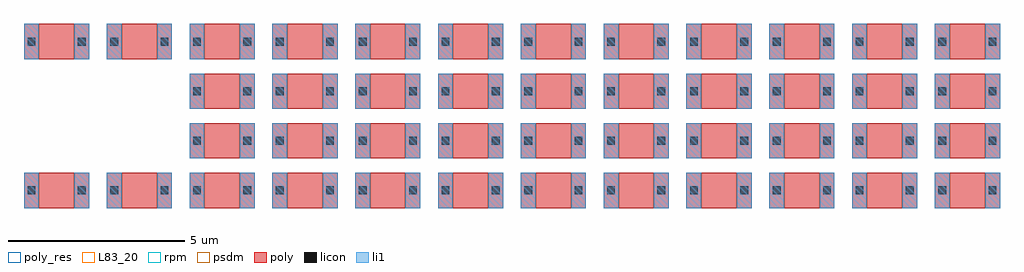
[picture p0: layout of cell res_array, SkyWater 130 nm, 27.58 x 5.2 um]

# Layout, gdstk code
import gdstk
lib = gdstk.Library(unit=1e-6, precision=1e-09)
def R(c, l, rs):  # rectangles x0, y0, x1, y1
    for r in rs: c.add(gdstk.rectangle(r[:2], r[2:], *l))
def A(c, l, x, y, w, h, nx, ny, dx, dy):  # array of equal rectangles
    R(c, l, [(x+i*dx, y+j*dy, x+i*dx+w, y+j*dy+h) for i in range(nx) for j in range(ny)])
poly_res = (66, 13)
poly = (66, 20)
licon = (66, 44)
li1 = (67, 20)
L83_20 = (83, 20)
rpm = (86, 20)
psdm = (94, 20)

res_array = lib.new_cell('res_array')
A(res_array, poly_res, -4.26, 0, 1, 1, 12, 2, 2.34, 4.2)
A(res_array, poly_res, 0.42, 1.4, 1, 1, 10, 2, 2.34, 1.4)
A(res_array, poly, -4.68, 0, 1.84, 1, 12, 2, 2.34, 4.2)
A(res_array, poly, 0, 1.4, 1.84, 1, 10, 2, 2.34, 1.4)
A(res_array, licon, 0.1, 0.39, 0.22, 0.22, 1, 4, 0, 1.4)
A(res_array, licon, 1.52, 0.39, 0.22, 0.22, 1, 4, 0, 1.4)
A(res_array, licon, 2.44, 0.39, 0.22, 0.22, 1, 4, 0, 1.4)
A(res_array, licon, 3.86, 0.39, 0.22, 0.22, 1, 4, 0, 1.4)
A(res_array, licon, 4.78, 0.39, 0.22, 0.22, 1, 4, 0, 1.4)
A(res_array, licon, 6.2, 0.39, 0.22, 0.22, 1, 4, 0, 1.4)
A(res_array, licon, 7.12, 0.39, 0.22, 0.22, 1, 4, 0, 1.4)
A(res_array, licon, 8.54, 0.39, 0.22, 0.22, 1, 4, 0, 1.4)
A(res_array, licon, 9.46, 0.39, 0.22, 0.22, 1, 4, 0, 1.4)
A(res_array, licon, 10.88, 0.39, 0.22, 0.22, 1, 4, 0, 1.4)
A(res_array, licon, 11.8, 0.39, 0.22, 0.22, 1, 4, 0, 1.4)
A(res_array, licon, 13.22, 0.39, 0.22, 0.22, 1, 4, 0, 1.4)
A(res_array, licon, 14.14, 0.39, 0.22, 0.22, 1, 4, 0, 1.4)
A(res_array, licon, 15.56, 0.39, 0.22, 0.22, 1, 4, 0, 1.4)
A(res_array, licon, 16.48, 0.39, 0.22, 0.22, 1, 4, 0, 1.4)
A(res_array, licon, 17.9, 0.39, 0.22, 0.22, 1, 4, 0, 1.4)
A(res_array, licon, 18.82, 0.39, 0.22, 0.22, 1, 4, 0, 1.4)
A(res_array, licon, 20.24, 0.39, 0.22, 0.22, 1, 4, 0, 1.4)
A(res_array, licon, 21.16, 0.39, 0.22, 0.22, 1, 4, 0, 1.4)
A(res_array, licon, 22.58, 0.39, 0.22, 0.22, 1, 4, 0, 1.4)
R(res_array, licon, [(-4.58,0.39,-4.36,0.61), (-3.16,0.39,-2.94,0.61), (-2.24,0.39,-2.02,0.61), (-0.82,0.39,-0.6,0.61), (-4.58,4.59,-4.36,4.81), (-3.16,4.59,-2.94,4.81), (-2.24,4.59,-2.02,4.81), (-0.82,4.59,-0.6,4.81)])
A(res_array, li1, 0, 0, 0.42, 1, 1, 4, 0, 1.4)
A(res_array, li1, 1.42, 0, 0.42, 1, 1, 4, 0, 1.4)
A(res_array, li1, 2.34, 0, 0.42, 1, 1, 4, 0, 1.4)
A(res_array, li1, 3.76, 0, 0.42, 1, 1, 4, 0, 1.4)
A(res_array, li1, 4.68, 0, 0.42, 1, 1, 4, 0, 1.4)
A(res_array, li1, 6.1, 0, 0.42, 1, 1, 4, 0, 1.4)
A(res_array, li1, 7.02, 0, 0.42, 1, 1, 4, 0, 1.4)
A(res_array, li1, 8.44, 0, 0.42, 1, 1, 4, 0, 1.4)
A(res_array, li1, 9.36, 0, 0.42, 1, 1, 4, 0, 1.4)
A(res_array, li1, 10.78, 0, 0.42, 1, 1, 4, 0, 1.4)
A(res_array, li1, 11.7, 0, 0.42, 1, 1, 4, 0, 1.4)
A(res_array, li1, 13.12, 0, 0.42, 1, 1, 4, 0, 1.4)
A(res_array, li1, 14.04, 0, 0.42, 1, 1, 4, 0, 1.4)
A(res_array, li1, 15.46, 0, 0.42, 1, 1, 4, 0, 1.4)
A(res_array, li1, 16.38, 0, 0.42, 1, 1, 4, 0, 1.4)
A(res_array, li1, 17.8, 0, 0.42, 1, 1, 4, 0, 1.4)
A(res_array, li1, 18.72, 0, 0.42, 1, 1, 4, 0, 1.4)
A(res_array, li1, 20.14, 0, 0.42, 1, 1, 4, 0, 1.4)
A(res_array, li1, 21.06, 0, 0.42, 1, 1, 4, 0, 1.4)
A(res_array, li1, 22.48, 0, 0.42, 1, 1, 4, 0, 1.4)
R(res_array, li1, [(-4.68,0,-4.26,1), (-3.26,0,-2.84,1), (-2.34,0,-1.92,1), (-0.92,0,-0.5,1), (-4.68,4.2,-4.26,5.2), (-3.26,4.2,-2.84,5.2), (-2.34,4.2,-1.92,5.2), (-0.92,4.2,-0.5,5.2)])
R(res_array, L83_20, [(-4.26,0,-3.26,1), (-1.92,0,-0.92,1), (-4.26,4.2,-3.26,5.2), (-1.92,4.2,-0.92,5.2)])
A(res_array, rpm, -4.26, 0, 1, 1, 12, 2, 2.34, 4.2)
A(res_array, rpm, 0.42, 1.4, 1, 1, 10, 2, 2.34, 1.4)
A(res_array, psdm, -4.26, 0, 1, 1, 12, 2, 2.34, 4.2)
A(res_array, psdm, 0.42, 1.4, 1, 1, 10, 2, 2.34, 1.4)

lib.write_gds('res_array.gds')
